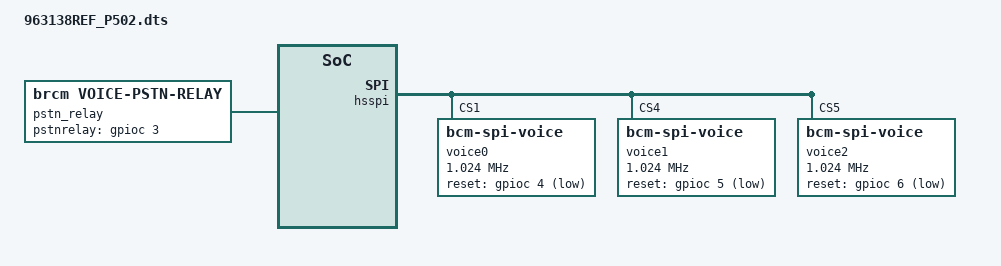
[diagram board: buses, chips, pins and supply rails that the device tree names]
#include "63138.dtsi"
#include "../bcm_voice.dtsi"
#include "963138REF_leds.dtsi"

/ {
	memory_controller {
		memcfg = <(BP_DDR_SPEED_800_11_11_11   | \
			BP_DDR_TOTAL_SIZE_512MB  | \
			BP_DDR_DEVICE_WIDTH_16)>;
	};

	buttons {
		compatible = "brcm,buttons";
		reset_button {
			ext_irq = <&bca_extintr 32 BCA_GPIO_ACTIVE_LOW (BCA_EXTINTR_TYPE_LOW_LEVEL | BCA_EXTINTR_TYPE_SENSE_LEVEL)>;
			press {
				print = "Button Press -- Hold for 5s to do restore to default";
			};
			hold {
				rst_to_dflt = <5>;
			};
			release {
				reset = <0>;
			};	
		};
		ses_button {
			ext_irq = <&bca_extintr 33 BCA_GPIO_ACTIVE_LOW (BCA_EXTINTR_TYPE_LOW_LEVEL | BCA_EXTINTR_TYPE_SENSE_LEVEL)>;
			release {
				ses_short_period = <0>;
				ses_long_period = <3>;
			};
		};
	};    
	pstn_relay:pstn_relay {
		compatible = "brcm,voice-pstn-relay";
		pstnrelay-gpio = <&gpioc 3 GPIO_ACTIVE_HIGH>;
	};
};

&bcm_voice{
	sliclist = SLICSLAC_LIST_COMMON_FXO;
 };

&hsspi {
	status = "okay";
	voice0 {
		pinctrl-0 = <&a_spim_ss1_b_pin_127>;
		pinctrl-names = "default";
		compatible = "bcm-spi-voice";
		reg = <1>; /* chip select 1 */
		spi-max-frequency = <1024000>;
		reset-gpio = <&gpioc 4 GPIO_ACTIVE_LOW>;
		spi-index = <0>;/* voice header index */
	};
	voice1 {
		pinctrl-0 = <&spim_ss4_b_pin_8>;
		pinctrl-names = "default";
		compatible = "bcm-spi-voice";
		reg = <4>; /* chip select 2 */
		spi-max-frequency = <1024000>;
		reset-gpio = <&gpioc 5 GPIO_ACTIVE_LOW>;
		spi-index = <1>;/* voice header index */
	};
	voice2 {
		pinctrl-0 = <&spim_ss5_b_pin_7>;
		pinctrl-names = "default";
		compatible = "bcm-spi-voice";
		reg = <5>; /* chip select 3 */
		spi-max-frequency = <1024000>;
		reset-gpio = <&gpioc 6 GPIO_ACTIVE_LOW>;
		spi-index = <2>;/* voice header index */
	};
};

&mdio_sf2 {
	/* PHYs directly connected to SF2 */
	gphy8:8 {
		status = "okay";
	};
	gphy9:9 {
		status = "okay";
	};
	gphya:a {
		status = "okay";
	};

	/* PHYs connected to crossbar */
	gphyb:b {
		status = "okay";
	};
	gphyc:c {
		status = "okay";
	};
	phy_serdes0:serdes0 {
		status = "okay";
	};

	/* Crossbar groups */
	xbar_grp0:0 {
		phy-handle = <&gphyb>;
		status = "okay";
	};
	xbar_grp2:2 {
		phy-handle = <&gphyc &phy_serdes0>;
		status = "okay";
	};
};

&switch_sf2 {
	ports {
		/* ports connect directly */
		sf2_port0@0 {
			phy-handle = <&gphy8>;
			network-leds = <&led0 &led1 &led10>;
			status = "okay";
		};

		sf2_port1@1 {
			phy-handle = <&gphy9>;
			network-leds = <&led2 &led3 &led11>;
			status = "okay";
		};

		sf2_port2@2 {
			phy-handle = <&gphya>;
			network-leds = <&led4 &led5 &led12>;
			status = "okay";
		};

		/* ports connected to crossbar */
		sf2_port3@3 {
			phy-handle = <&xbar_grp0>;
			network-leds = <&led6 &led7 &led13>;
			status = "okay";
		};
	};
};

&switch0 {
	ports {
		
		port0@0 {
			phy-handle = <&xbar_grp2>;
			phy-mode = "serdes";
			network-leds = <&led20 &led21 &led22>;
			status = "okay";
		};
	};
};
